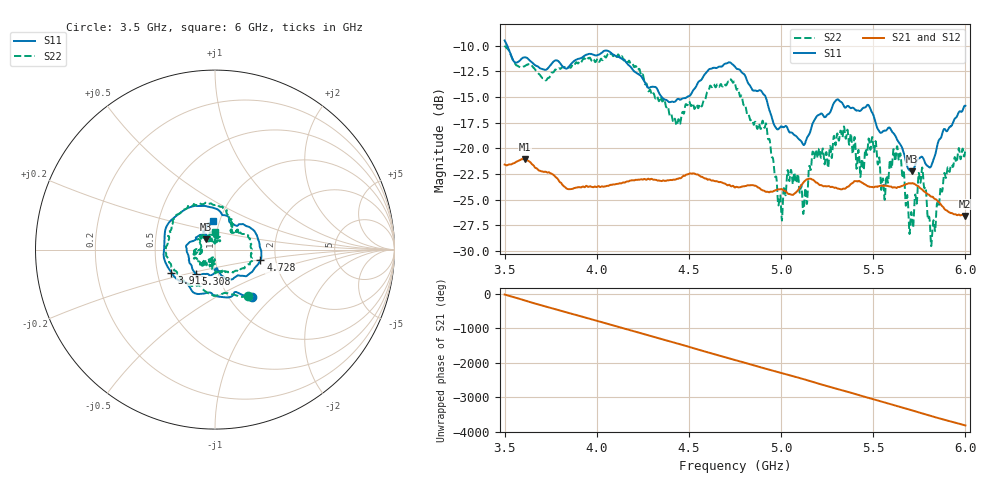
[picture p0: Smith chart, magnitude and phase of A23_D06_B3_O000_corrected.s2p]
! Created with skrf 1.9.0 (http://scikit-rf.org).
# Hz S RI R 50.0
!freq ReS11 ImS11 ReS21 ImS21 ReS12 ImS12 ReS22 ImS22
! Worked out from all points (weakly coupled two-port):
!   1601 points, 3.5 GHz to 6 GHz, reference 50 ohm
!   highest |S21| = -21.04 dB at 3.609 GHz (marker M1); lowest = -26.6 dB at 5.997 GHz (marker M2)
!   lowest |S11| = -22.3 dB at 5.709 GHz (marker M3), VSWR 1.17, Z = 44.9 + j5.23 ohm
!   |S11| at or under -10 dB: 3.514 GHz to end of sweep
!   |S22| runs from -29.5 to -10.0 dB; largest |S21 - S12| = 0.00096
!   S11 on the Smith chart (normalised r, x): 3.5 GHz: 1.27, -0.75; 3.913 GHz: 0.59, -0.16; 4.728 GHz: 1.66, -0.21; 5.308 GHz: 0.78, -0.22; 6 GHz: 0.93, +0.31
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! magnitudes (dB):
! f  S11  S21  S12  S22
! 3.5 GHz  -9.5  -21.6  -21.6  -10.0
! 3.609 GHz  -11.1  -21.0  -21.0  -12.0
! 3.913 GHz  -11.2  -23.8  -23.8  -11.6
! 3.917 GHz  -11.2  -23.8  -23.8  -11.6
! 4.334 GHz  -14.5  -23.1  -23.1  -15.3
! 4.442 GHz  -15.2  -23.0  -22.9  -17.2
! 4.728 GHz  -11.7  -23.7  -23.6  -13.3
! 4.75 GHz  -12.1  -23.8  -23.7  -13.7
! 4.912 GHz  -14.9  -24.2  -24.1  -17.9
! 4.995 GHz  -17.9  -24.0  -23.9  -24.6
! 5.045 GHz  -18.4  -24.5  -24.4  -23.2
! 5.13 GHz  -19.6  -23.2  -23.2  -24.1
! 5.167 GHz  -17.8  -23.0  -23.0  -20.9
! 5.308 GHz  -15.2  -23.9  -23.9  -18.7
! 5.584 GHz  -18.0  -23.7  -23.7  -22.5
! 5.639 GHz  -19.4  -23.8  -23.7  -21.2
! 5.709 GHz  -22.3  -23.4  -23.3  -26.5
! 5.758 GHz  -20.9  -23.9  -23.9  -23.2
! 5.823 GHz  -21.3  -24.7  -24.7  -27.5
! 5.894 GHz  -18.3  -26.0  -25.9  -22.9
! 5.997 GHz  -15.9  -26.6  -26.5  -20.5
! 6 GHz  -15.9  -26.6  -26.5  -20.0
